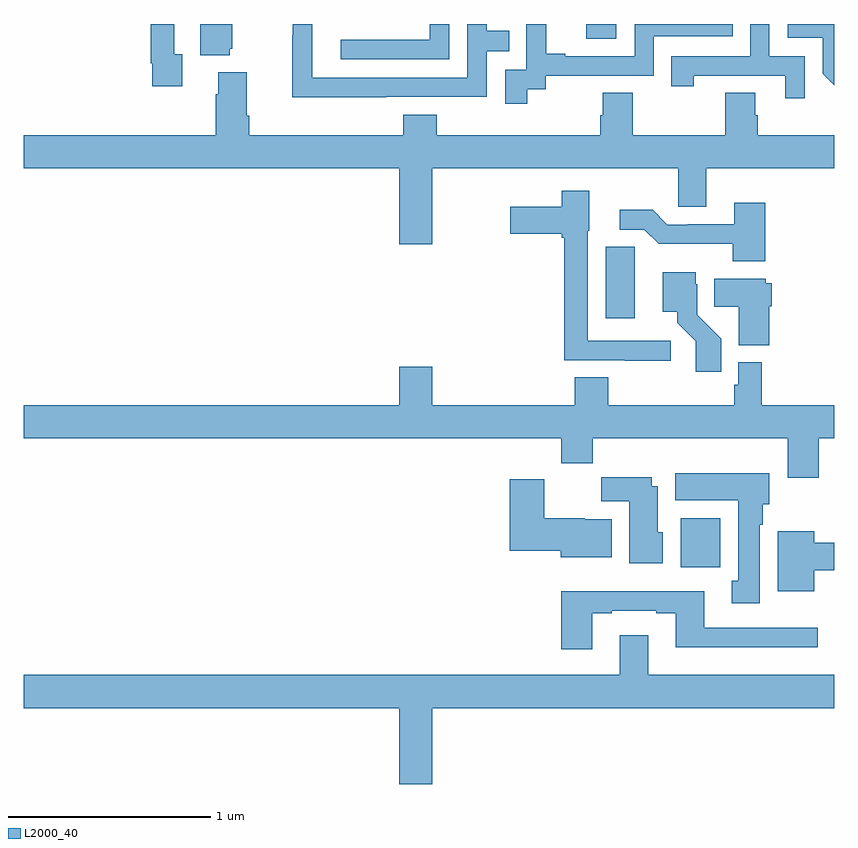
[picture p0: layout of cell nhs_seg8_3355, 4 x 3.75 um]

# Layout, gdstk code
import gdstk
lib = gdstk.Library(unit=1e-6, precision=1e-09)
def R(c, l, rs):  # rectangles x0, y0, x1, y1
    for r in rs: c.add(gdstk.rectangle(r[:2], r[2:], *l))
def P(c, l, *ps):  # polygons
    for p in ps: c.add(gdstk.Polygon(p, *l))
L2000_40 = (2000, 40)

nhs_seg8_3355 = lib.new_cell('nhs_seg8_3355')
R(nhs_seg8_3355, L2000_40, [(322.241,1093.22,322.438,1093.462), (321.777,1095.828,321.924,1095.9)])
P(nhs_seg8_3355, L2000_40, [(321.484,1095.577),(321.576,1095.577),(321.576,1095.645),(322.11,1095.645),(322.11,1095.84),(322.499,1095.84),(322.499,1095.9),(322.014,1095.9),(322.014,1095.741),(321.673,1095.741),(321.673,1095.754),(321.578,1095.754),(321.578,1095.9),(321.48,1095.9),(321.48,1095.675),(321.375,1095.675),(321.375,1095.507),(321.484,1095.507)],
  [(322.854,1095.741),(322.68,1095.741),(322.68,1095.9),(322.584,1095.9),(322.584,1095.741),(322.195,1095.741),(322.195,1095.594),(322.306,1095.594),(322.306,1095.645),(322.757,1095.645),(322.757,1095.534),(322.854,1095.534)],
  [(321.099,1095.9),(321.003,1095.9),(321.003,1095.822),(320.565,1095.822),(320.565,1095.726),(321.099,1095.726)],
  [(320.018,1095.777),(320.029,1095.777),(320.029,1095.9),(319.871,1095.9),(319.871,1095.746),(320.018,1095.746)],
  [(320.789,1095.54),(321.285,1095.54),(321.285,1095.765),(321.395,1095.765),(321.395,1095.866),(321.285,1095.866),(321.285,1095.9),(321.189,1095.9),(321.189,1095.636),(320.424,1095.636),(320.424,1095.9),(320.328,1095.9),(320.328,1095.845),(320.326,1095.845),(320.326,1095.539),(320.789,1095.539)],
  [(319.783,1095.75),(319.743,1095.75),(319.743,1095.9),(319.627,1095.9),(319.627,1095.706),(319.635,1095.706),(319.635,1095.594),(319.783,1095.594)],
  [(323,1095.9),(322.77,1095.9),(322.77,1095.831),(322.944,1095.831),(322.944,1095.654),(323,1095.599)],
  [(321.016,1095.188),(322.23,1095.188),(322.23,1094.998),(322.369,1094.998),(322.369,1095.188),(323,1095.188),(323,1095.352),(322.622,1095.352),(322.622,1095.45),(322.609,1095.45),(322.609,1095.56),(322.462,1095.56),(322.462,1095.352),(322.005,1095.352),(322.005,1095.56),(321.857,1095.56),(321.857,1095.45),(321.845,1095.45),(321.845,1095.352),(321.038,1095.352),(321.038,1095.451),(320.873,1095.451),(320.873,1095.352),(320.114,1095.352),(320.114,1095.448),(320.101,1095.448),(320.101,1095.661),(319.961,1095.661),(319.961,1095.554),(319.949,1095.554),(319.949,1095.352),(319,1095.352),(319,1095.188),(320.852,1095.188),(320.852,1094.814),(321.016,1094.814)],
  [(322.192,1094.337),(321.783,1094.337),(321.783,1094.88),(321.79,1094.88),(321.79,1095.076),(321.654,1095.076),(321.654,1094.998),(321.402,1094.998),(321.402,1094.864),(321.654,1094.864),(321.654,1094.846),(321.667,1094.846),(321.667,1094.241),(321.967,1094.241),(321.967,1094.239),(322.192,1094.239)],
  [(322.658,1095.019),(322.505,1095.019),(322.505,1094.913),(322.276,1094.913),(322.276,1094.91),(322.176,1094.91),(322.103,1094.983),(321.942,1094.983),(321.942,1094.886),(322.062,1094.886),(322.133,1094.816),(322.498,1094.816),(322.498,1094.729),(322.658,1094.729)],
  [(322.015,1094.69),(322.014,1094.69),(322.014,1094.801),(321.872,1094.801),(321.872,1094.448),(322.015,1094.448)],
  [(322.442,1094.346),(322.323,1094.465),(322.323,1094.616),(322.315,1094.616),(322.315,1094.674),(322.154,1094.674),(322.154,1094.48),(322.226,1094.48),(322.226,1094.425),(322.317,1094.335),(322.317,1094.184),(322.442,1094.184)],
  [(322.679,1094.508),(322.691,1094.508),(322.691,1094.622),(322.662,1094.622),(322.662,1094.644),(322.408,1094.644),(322.408,1094.506),(322.529,1094.506),(322.529,1094.315),(322.679,1094.315)],
  [(322.922,1093.856),(323,1093.856),(323,1094.02),(322.643,1094.02),(322.643,1094.23),(322.527,1094.23),(322.527,1094.121),(322.507,1094.121),(322.507,1094.02),(321.884,1094.02),(321.884,1094.156),(321.719,1094.156),(321.719,1094.02),(321.016,1094.02),(321.016,1094.209),(320.852,1094.209),(320.852,1094.02),(319,1094.02),(319,1093.856),(321.653,1093.856),(321.653,1093.732),(321.809,1093.732),(321.809,1093.856),(322.769,1093.856),(322.769,1093.662),(322.922,1093.662)],
  [(322.633,1093.43),(322.648,1093.43),(322.648,1093.53),(322.678,1093.53),(322.678,1093.684),(322.214,1093.684),(322.214,1093.55),(322.526,1093.55),(322.526,1093.154),(322.493,1093.154),(322.493,1093.041),(322.633,1093.041)],
  [(322.153,1093.392),(322.129,1093.392),(322.129,1093.618),(322.099,1093.618),(322.099,1093.663),(321.85,1093.663),(321.85,1093.544),(321.989,1093.544),(321.989,1093.238),(322.153,1093.238)],
  [(321.901,1093.456),(321.768,1093.456),(321.768,1093.462),(321.568,1093.462),(321.568,1093.654),(321.398,1093.654),(321.398,1093.301),(321.65,1093.301),(321.65,1093.268),(321.901,1093.268)],
  [(322.9,1093.204),(323,1093.204),(323,1093.34),(322.9,1093.34),(322.9,1093.396),(322.721,1093.396),(322.721,1093.1),(322.9,1093.1)],
  [(321.805,1092.993),(321.901,1092.993),(321.901,1093.005),(322.121,1093.005),(322.121,1092.993),(322.217,1092.993),(322.217,1092.824),(322.918,1092.824),(322.918,1092.921),(322.357,1092.921),(322.357,1093.102),(321.653,1093.102),(321.653,1092.816),(321.805,1092.816)],
  [(321.016,1092.524),(323,1092.524),(323,1092.688),(322.081,1092.688),(322.081,1092.883),(321.941,1092.883),(321.941,1092.688),(319,1092.688),(319,1092.524),(320.852,1092.524),(320.852,1092.15),(321.016,1092.15)])

lib.write_gds('nhs_seg8_3355.gds')
